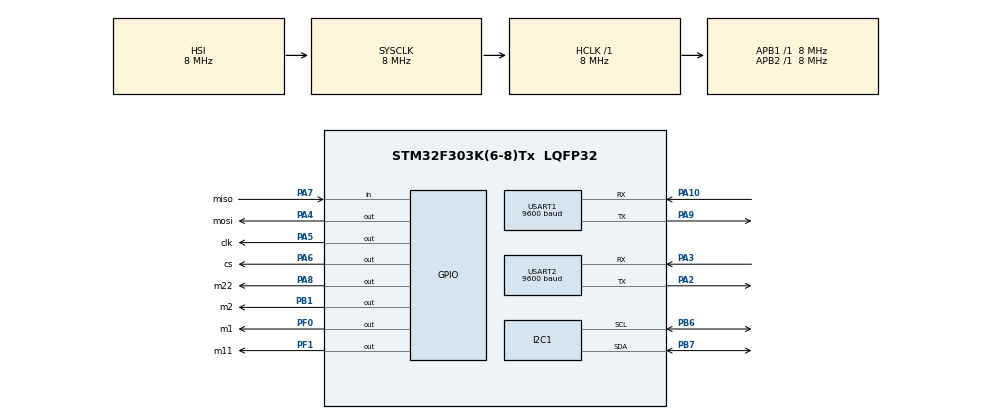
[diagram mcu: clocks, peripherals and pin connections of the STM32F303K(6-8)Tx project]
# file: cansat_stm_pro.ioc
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Mcu.Family=STM32F3
Mcu.Name=STM32F303K(6-8)Tx
Mcu.Package=LQFP32
NVIC.PriorityGroup=NVIC_PRIORITYGROUP_4
PA10.Mode=Asynchronous
PA10.Signal=USART1_RX
PA2.Mode=Asynchronous
PA2.Signal=USART2_TX
PA3.Mode=Asynchronous
PA3.Signal=USART2_RX
PA4.GPIO_Label=mosi
PA4.GPIO_PuPd=GPIO_PULLUP
PA4.GPIO_Speed=GPIO_SPEED_FREQ_HIGH
PA4.PinState=GPIO_PIN_RESET
PA4.Signal=GPIO_Output
PA5.GPIO_Label=clk
PA5.GPIO_PuPd=GPIO_PULLUP
PA5.GPIO_Speed=GPIO_SPEED_FREQ_HIGH
PA5.Signal=GPIO_Output
PA6.GPIO_Label=cs
PA6.GPIO_PuPd=GPIO_PULLUP
PA6.GPIO_Speed=GPIO_SPEED_FREQ_HIGH
PA6.Signal=GPIO_Output
PA7.GPIO_Label=miso
PA7.GPIO_PuPd=GPIO_PULLUP
PA7.Signal=GPIO_Input
PA8.GPIO_Label=m22
PA8.Signal=GPIO_Output
PA9.Mode=Asynchronous
PA9.Signal=USART1_TX
PB1.GPIO_Label=m2
PB1.Signal=GPIO_Output
PB6.Mode=I2C
PB6.Signal=I2C1_SCL
PB7.Mode=I2C
PB7.Signal=I2C1_SDA
PF0\ /\ OSC_IN.GPIO_Label=m1
PF0\ /\ OSC_IN.Signal=GPIO_Output
PF1\ /\ OSC_OUT.GPIO_Label=m11
PF1\ /\ OSC_OUT.Signal=GPIO_Output
ProjectManager.HeapSize=0x200
ProjectManager.StackSize=0x400
ProjectManager.TargetToolchain=SW4STM32
RCC.AHBFreq_Value=8000000
RCC.APB1Freq_Value=8000000
RCC.APB2Freq_Value=8000000
RCC.CortexFreq_Value=8000000
RCC.HSE_VALUE=8000000
RCC.HSI_VALUE=8000000
RCC.SYSCLKFreq_VALUE=8000000
USART1.BaudRate=9600
USART1.VirtualMode-Asynchronous=VM_ASYNC
USART1.WordLength=WORDLENGTH_8B
USART2.BaudRate=9600
USART2.VirtualMode-Asynchronous=VM_ASYNC
USART2.WordLength=WORDLENGTH_8B
board=cansat_stm_pro

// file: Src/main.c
/**
  ******************************************************************************
  * File Name          : main.c
  * Description        : Main program body
  ******************************************************************************
  ** This notice applies to any and all portions of this file
  * that are not between comment pairs USER CODE BEGIN and
  * USER CODE END. Other portions of this file, whether
  * inserted by the user or by software development tools
  * are owned by their respective copyright owners.
  *
  * COPYRIGHT(c) 2017 STMicroelectronics
  *
  * Redistribution and use in source and binary forms, with or without modification,
  * are permitted provided that the following conditions are met:
  *   1. Redistributions of source code must retain the above copyright notice,
  *      this list of conditions and the following disclaimer.
  *   2. Redistributions in binary form must reproduce the above copyright notice,
  *      this list of conditions and the following disclaimer in the documentation
  *      and/or other materials provided with the distribution.
  *   3. Neither the name of STMicroelectronics nor the names of its contributors
  *      may be used to endorse or promote products derived from this software
  *      without specific prior written permission.
  *
  * THIS SOFTWARE IS PROVIDED BY THE COPYRIGHT HOLDERS AND CONTRIBUTORS "AS IS"
  * AND ANY EXPRESS OR IMPLIED WARRANTIES, INCLUDING, BUT NOT LIMITED TO, THE
  * IMPLIED WARRANTIES OF MERCHANTABILITY AND FITNESS FOR A PARTICULAR PURPOSE ARE
  * DISCLAIMED. IN NO EVENT SHALL THE COPYRIGHT HOLDER OR CONTRIBUTORS BE LIABLE
  * FOR ANY DIRECT, INDIRECT, INCIDENTAL, SPECIAL, EXEMPLARY, OR CONSEQUENTIAL
  * DAMAGES (INCLUDING, BUT NOT LIMITED TO, PROCUREMENT OF SUBSTITUTE GOODS OR
  * SERVICES; LOSS OF USE, DATA, OR PROFITS; OR BUSINESS INTERRUPTION) HOWEVER
  * CAUSED AND ON ANY THEORY OF LIABILITY, WHETHER IN CONTRACT, STRICT LIABILITY,
  * OR TORT (INCLUDING NEGLIGENCE OR OTHERWISE) ARISING IN ANY WAY OUT OF THE USE
  * OF THIS SOFTWARE, EVEN IF ADVISED OF THE POSSIBILITY OF SUCH DAMAGE.
  *
  ******************************************************************************
  */
#include "main.h"
#include "stm32f3xx_hal.h"

/* USER CODE BEGIN Includes */
#include "ff.h"
/* USER CODE END Includes */

I2C_HandleTypeDef hi2c1;

UART_HandleTypeDef huart1;
UART_HandleTypeDef huart2;

/* USER CODE BEGIN PV */
/* Private variables ---------------------------------------------------------*/
FATFS FatFs;
FIL Fil;

#define  FORWARD    0
#define  RECESSION  1
#define  RIGHT      2
#define  LEFT       3
#define  STOP       4

/* USER CODE END PV */

void SystemClock_Config(void);
static void MX_GPIO_Init(void);
static void MX_USART1_UART_Init(void);
static void MX_USART2_UART_Init(void);
static void MX_I2C1_Init(void);

/* USER CODE BEGIN PFP */
/* Private function prototypes -----------------------------------------------*/

/* USER CODE END PFP */

/* USER CODE BEGIN 0 */
void turnMotor(int rotateDirection){
  switch(rotateDirection){
    case FORWARD:
      HAL_GPIO_WritePin(m11_GPIO_Port,  m11_Pin,  GPIO_PIN_RESET);
      HAL_GPIO_WritePin(m1_GPIO_Port,   m1_Pin,   GPIO_PIN_SET);
      HAL_GPIO_WritePin(m22_GPIO_Port,  m22_Pin,  GPIO_PIN_RESET);
      HAL_GPIO_WritePin(m2_GPIO_Port,   m2_Pin,   GPIO_PIN_SET);
    case RECESSION:
      HAL_GPIO_WritePin(m1_GPIO_Port,   m1_Pin,   GPIO_PIN_RESET);
      HAL_GPIO_WritePin(m11_GPIO_Port,  m11_Pin,  GPIO_PIN_SET);
      HAL_GPIO_WritePin(m2_GPIO_Port,   m2_Pin,   GPIO_PIN_RESET);
      HAL_GPIO_WritePin(m22_GPIO_Port,  m22_Pin,  GPIO_PIN_SET);
    case RIGHT:
      HAL_GPIO_WritePin(m1_GPIO_Port,   m1_Pin,   GPIO_PIN_RESET);
      HAL_GPIO_WritePin(m11_GPIO_Port,  m11_Pin,  GPIO_PIN_SET);
      HAL_GPIO_WritePin(m22_GPIO_Port,  m22_Pin,  GPIO_PIN_RESET);
      HAL_GPIO_WritePin(m2_GPIO_Port,   m2_Pin,   GPIO_PIN_SET);
    case LEFT:
      HAL_GPIO_WritePin(m11_GPIO_Port,  m11_Pin,  GPIO_PIN_RESET);
      HAL_GPIO_WritePin(m1_GPIO_Port,   m1_Pin,   GPIO_PIN_SET);
      HAL_GPIO_WritePin(m2_GPIO_Port,   m2_Pin,   GPIO_PIN_RESET);
      HAL_GPIO_WritePin(m22_GPIO_Port,  m22_Pin,  GPIO_PIN_SET);
    case STOP:
      HAL_GPIO_WritePin(m1_GPIO_Port,   m1_Pin,   GPIO_PIN_RESET);
      HAL_GPIO_WritePin(m11_GPIO_Port,  m11_Pin,  GPIO_PIN_RESET);
      HAL_GPIO_WritePin(m2_GPIO_Port,   m2_Pin,   GPIO_PIN_RESET);
      HAL_GPIO_WritePin(m22_GPIO_Port,  m22_Pin,  GPIO_PIN_RESET);
  }
}

/* USER CODE END 0 */

int main(void)
{

  /* MCU Configuration----------------------------------------------------------*/

  /* Reset of all peripherals, Initializes the Flash interface and the Systick. */
  HAL_Init();

  /* Configure the system clock */
  SystemClock_Config();

  /* Initialize all configured peripherals */
  MX_GPIO_Init();
  MX_USART1_UART_Init();
  MX_USART2_UART_Init();
  MX_I2C1_Init();

  /* USER CODE BEGIN 2 */

  int bw;

  if(f_mount(&FatFs, "", 0) == FR_OK){
    printf("Mount OK!!\n");
  }
  else{
    printf("Mount Fail!!\n");
    while(1);
  }
  if(f_open(&Fil, "newfile.txt", FA_WRITE | FA_CREATE_ALWAYS) == FR_OK){
    f_write(&Fil, "It works!!!!!!\r\n", 16, &bw);
    f_close(&Fil);
    if(bw == 16) printf("Write OK!!\n");
    while(1);
  }
  else{
    printf("Open Fail!!\n");
    while(1);
  }

  /* USER CODE END 2 */

  /* Infinite loop */
  while (1)
  {

  }

}

/** System Clock Configuration
*/
void SystemClock_Config(void)
{

  RCC_OscInitTypeDef RCC_OscInitStruct;
  RCC_ClkInitTypeDef RCC_ClkInitStruct;
  RCC_PeriphCLKInitTypeDef PeriphClkInit;

    /**Initializes the CPU, AHB and APB busses clocks
    */
  RCC_OscInitStruct.OscillatorType = RCC_OSCILLATORTYPE_HSI;
  RCC_OscInitStruct.HSIState = RCC_HSI_ON;
  RCC_OscInitStruct.HSICalibrationValue = 16;
  RCC_OscInitStruct.PLL.PLLState = RCC_PLL_NONE;
  if (HAL_RCC_OscConfig(&RCC_OscInitStruct) != HAL_OK)
  {
    _Error_Handler(__FILE__, __LINE__);
  }

    /**Initializes the CPU, AHB and APB busses clocks
    */
  RCC_ClkInitStruct.ClockType = RCC_CLOCKTYPE_HCLK|RCC_CLOCKTYPE_SYSCLK
                              |RCC_CLOCKTYPE_PCLK1|RCC_CLOCKTYPE_PCLK2;
  RCC_ClkInitStruct.SYSCLKSource = RCC_SYSCLKSOURCE_HSI;
  RCC_ClkInitStruct.AHBCLKDivider = RCC_SYSCLK_DIV1;
  RCC_ClkInitStruct.APB1CLKDivider = RCC_HCLK_DIV1;
  RCC_ClkInitStruct.APB2CLKDivider = RCC_HCLK_DIV1;

  if (HAL_RCC_ClockConfig(&RCC_ClkInitStruct, FLASH_LATENCY_0) != HAL_OK)
  {
    _Error_Handler(__FILE__, __LINE__);
  }

  PeriphClkInit.PeriphClockSelection = RCC_PERIPHCLK_USART1|RCC_PERIPHCLK_I2C1;
  PeriphClkInit.Usart1ClockSelection = RCC_USART1CLKSOURCE_PCLK1;
  PeriphClkInit.I2c1ClockSelection = RCC_I2C1CLKSOURCE_HSI;
  if (HAL_RCCEx_PeriphCLKConfig(&PeriphClkInit) != HAL_OK)
  {
    _Error_Handler(__FILE__, __LINE__);
  }

    /**Configure the Systick interrupt time
    */
  HAL_SYSTICK_Config(HAL_RCC_GetHCLKFreq()/1000);

    /**Configure the Systick
    */
  HAL_SYSTICK_CLKSourceConfig(SYSTICK_CLKSOURCE_HCLK);

  /* SysTick_IRQn interrupt configuration */
  HAL_NVIC_SetPriority(SysTick_IRQn, 0, 0);
}

/* I2C1 init function */
static void MX_I2C1_Init(void)
{

  hi2c1.Instance = I2C1;
  hi2c1.Init.Timing = 0x2000090E;
  hi2c1.Init.OwnAddress1 = 0;
  hi2c1.Init.AddressingMode = I2C_ADDRESSINGMODE_7BIT;
  hi2c1.Init.DualAddressMode = I2C_DUALADDRESS_DISABLE;
  hi2c1.Init.OwnAddress2 = 0;
  hi2c1.Init.OwnAddress2Masks = I2C_OA2_NOMASK;
  hi2c1.Init.GeneralCallMode = I2C_GENERALCALL_DISABLE;
  hi2c1.Init.NoStretchMode = I2C_NOSTRETCH_DISABLE;
  if (HAL_I2C_Init(&hi2c1) != HAL_OK)
  {
    _Error_Handler(__FILE__, __LINE__);
  }

    /**Configure Analogue filter
    */
  if (HAL_I2CEx_ConfigAnalogFilter(&hi2c1, I2C_ANALOGFILTER_ENABLE) != HAL_OK)
  {
    _Error_Handler(__FILE__, __LINE__);
  }

    /**Configure Digital filter
    */
  if (HAL_I2CEx_ConfigDigitalFilter(&hi2c1, 0) != HAL_OK)
  {
    _Error_Handler(__FILE__, __LINE__);
  }

}

/* USART1 init function */
static void MX_USART1_UART_Init(void)
{

  huart1.Instance = USART1;
  huart1.Init.BaudRate = 9600;
  huart1.Init.WordLength = UART_WORDLENGTH_8B;
  huart1.Init.StopBits = UART_STOPBITS_1;
  huart1.Init.Parity = UART_PARITY_NONE;
  huart1.Init.Mode = UART_MODE_TX_RX;
  huart1.Init.HwFlowCtl = UART_HWCONTROL_NONE;
  huart1.Init.OverSampling = UART_OVERSAMPLING_16;
  huart1.Init.OneBitSampling = UART_ONE_BIT_SAMPLE_DISABLE;
  huart1.AdvancedInit.AdvFeatureInit = UART_ADVFEATURE_NO_INIT;
  if (HAL_UART_Init(&huart1) != HAL_OK)
  {
    _Error_Handler(__FILE__, __LINE__);
  }

}

/* USART2 init function */
static void MX_USART2_UART_Init(void)
{

  huart2.Instance = USART2;
  huart2.Init.BaudRate = 9600;
  huart2.Init.WordLength = UART_WORDLENGTH_8B;
  huart2.Init.StopBits = UART_STOPBITS_1;
  huart2.Init.Parity = UART_PARITY_NONE;
  huart2.Init.Mode = UART_MODE_TX_RX;
  huart2.Init.HwFlowCtl = UART_HWCONTROL_NONE;
  huart2.Init.OverSampling = UART_OVERSAMPLING_16;
  huart2.Init.OneBitSampling = UART_ONE_BIT_SAMPLE_DISABLE;
  huart2.AdvancedInit.AdvFeatureInit = UART_ADVFEATURE_NO_INIT;
  if (HAL_UART_Init(&huart2) != HAL_OK)
  {
    _Error_Handler(__FILE__, __LINE__);
  }

}

/** Configure pins as
        * Analog
        * Input
        * Output
        * EVENT_OUT
        * EXTI
*/
static void MX_GPIO_Init(void)
{

  GPIO_InitTypeDef GPIO_InitStruct;

  /* GPIO Ports Clock Enable */
  __HAL_RCC_GPIOF_CLK_ENABLE();
  __HAL_RCC_GPIOA_CLK_ENABLE();
  __HAL_RCC_GPIOB_CLK_ENABLE();

  /*Configure GPIO pin Output Level */
  HAL_GPIO_WritePin(GPIOF, m1_Pin|m11_Pin, GPIO_PIN_RESET);

  /*Configure GPIO pin Output Level */
  HAL_GPIO_WritePin(GPIOA, mosi_Pin|clk_Pin|cs_Pin|m22_Pin, GPIO_PIN_RESET);

  /*Configure GPIO pin Output Level */
  HAL_GPIO_WritePin(m2_GPIO_Port, m2_Pin, GPIO_PIN_RESET);

  /*Configure GPIO pins : m1_Pin m11_Pin */
  GPIO_InitStruct.Pin = m1_Pin|m11_Pin;
  GPIO_InitStruct.Mode = GPIO_MODE_OUTPUT_PP;
  GPIO_InitStruct.Pull = GPIO_NOPULL;
  GPIO_InitStruct.Speed = GPIO_SPEED_FREQ_LOW;
  HAL_GPIO_Init(GPIOF, &GPIO_InitStruct);

  /*Configure GPIO pins : mosi_Pin clk_Pin cs_Pin */
  GPIO_InitStruct.Pin = mosi_Pin|clk_Pin|cs_Pin;
  GPIO_InitStruct.Mode = GPIO_MODE_OUTPUT_PP;
  GPIO_InitStruct.Pull = GPIO_PULLUP;
  GPIO_InitStruct.Speed = GPIO_SPEED_FREQ_HIGH;
  HAL_GPIO_Init(GPIOA, &GPIO_InitStruct);

  /*Configure GPIO pin : miso_Pin */
  GPIO_InitStruct.Pin = miso_Pin;
  GPIO_InitStruct.Mode = GPIO_MODE_INPUT;
  GPIO_InitStruct.Pull = GPIO_PULLUP;
  HAL_GPIO_Init(miso_GPIO_Port, &GPIO_InitStruct);

  /*Configure GPIO pin : m2_Pin */
  GPIO_InitStruct.Pin = m2_Pin;
  GPIO_InitStruct.Mode = GPIO_MODE_OUTPUT_PP;
  GPIO_InitStruct.Pull = GPIO_NOPULL;
  GPIO_InitStruct.Speed = GPIO_SPEED_FREQ_LOW;
  HAL_GPIO_Init(m2_GPIO_Port, &GPIO_InitStruct);

  /*Configure GPIO pin : m22_Pin */
  GPIO_InitStruct.Pin = m22_Pin;
  GPIO_InitStruct.Mode = GPIO_MODE_OUTPUT_PP;
  GPIO_InitStruct.Pull = GPIO_NOPULL;
  GPIO_InitStruct.Speed = GPIO_SPEED_FREQ_LOW;
  HAL_GPIO_Init(m22_GPIO_Port, &GPIO_InitStruct);

}

void _Error_Handler(char * file, int line)
{
  while(1)
  {
  }
}

/************************ (C) COPYRIGHT STMicroelectronics *****END OF FILE****/
